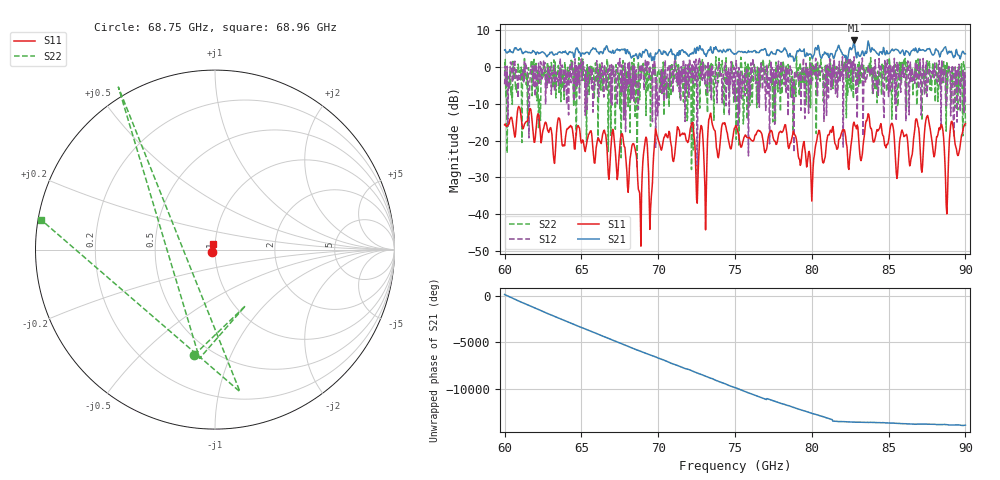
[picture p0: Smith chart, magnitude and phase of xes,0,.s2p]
!Created with skrf (http://scikit-rf.org).
# GHz S RI R 50.0
!freq ReS11 ImS11 ReS21 ImS21 ReS12 ImS12 ReS22 ImS22
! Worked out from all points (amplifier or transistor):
!   721 points, 60 GHz to 90 GHz, reference 50 ohm
!   highest |S21| = 7.1 dB at 82.75 GHz (marker M1)
!   |S21| within 3 dB of that: 86.92 GHz to 87.74 GHz (820.8 MHz wide, 0.94 % of centre)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
!   unconditionally stable (mu >= 1): 60.20538 GHz to 60.21173 GHz; 68.60625 GHz to 68.67062 GHz; 78.76914 GHz to 78.85142 GHz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
!   at 65 GHz: K = 0.90, MSG = 0.5 dB, |S12| = 2.1 dB
!   at 75 GHz: K = 1.02, MAG = 5.6 dB, |S12| = -9.4 dB
!   at 90 GHz: K = 1.26, MAG = 3.6 dB, |S12| = -10.0 dB
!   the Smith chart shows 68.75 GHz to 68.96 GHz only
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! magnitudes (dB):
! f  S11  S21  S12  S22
! 60 GHz  -15.8  4.5  -4.8  -2.5
! 62.21 GHz  -12.9  3.5  0.9  -16.5
! 65 GHz  -20.7  3.2  2.1  1.3
! 68.42 GHz  -21.0  2.9  -9.3  2.2
! 68.79 GHz  -34.2  3.7  0.5  -9.0
! 69.17 GHz  -19.7  4.6  1.7  -0.4
! 69.5 GHz  -38.8  3.7  -0.4  -16.2
! 70 GHz  -19.8  4.0  -8.2  -0.7
! 72.21 GHz  -15.2  3.5  0.8  -14.1
! 72.54 GHz  -37.0  5.3  -36.6  -3.5
! 72.79 GHz  -15.9  4.7  -2.7  -3.4
! 73.08 GHz  -44.2  3.4  0.2  -4.4
! 73.38 GHz  -13.0  4.9  -4.1  -6.6
! 75 GHz  -16.6  3.5  -9.4  -8.2
! 80 GHz  -36.4  2.7  -1.9  1.0
! 80.42 GHz  -18.2  5.8  -1.6  -2.0
! 82.75 GHz  -15.0  7.1  2.7  -0.4
! 85 GHz  -19.9  3.6  -8.1  -1.0
! 88.42 GHz  -15.7  3.8  -16.6  -1.2
! 88.79 GHz  -39.9  4.1  -10.3  1.4
! 89.08 GHz  -14.9  4.2  -2.1  -9.7
! 90 GHz  -15.5  3.5  -10.0  -16.1
